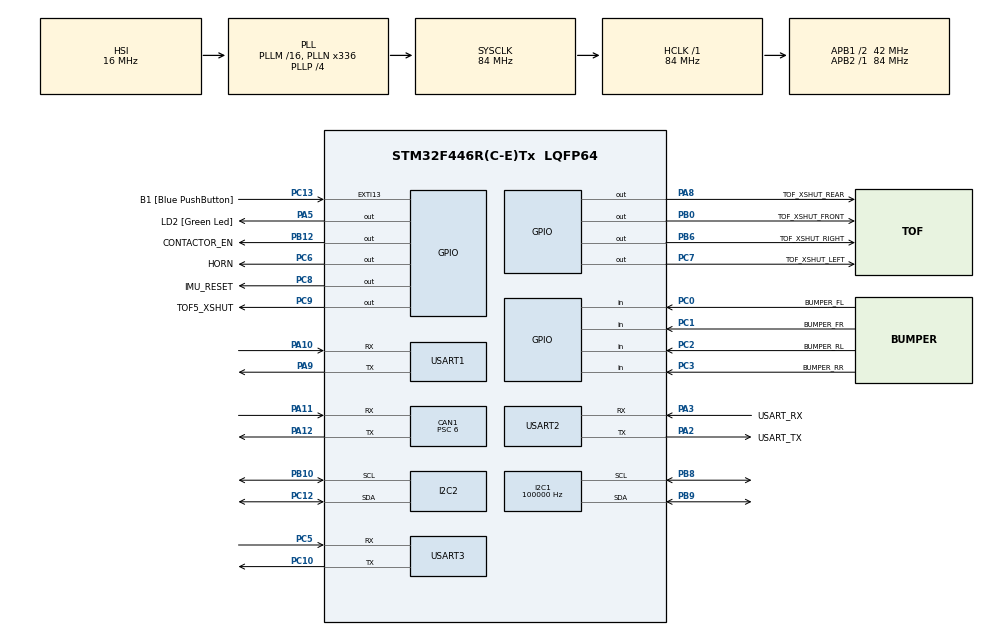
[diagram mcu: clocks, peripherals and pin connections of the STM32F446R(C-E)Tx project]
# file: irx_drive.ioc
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CAN1.ABOM=ENABLE
CAN1.BS1=CAN_BS1_11TQ
CAN1.BS2=CAN_BS2_2TQ
CAN1.CalculateBaudRate=500000
CAN1.CalculateTimeBit=2000
CAN1.CalculateTimeQuantum=142.85714285714286
CAN1.NART=ENABLE
CAN1.Prescaler=6
I2C1.ClockSpeed=100000
I2C1.I2C_Mode=I2C_Standard
Mcu.Family=STM32F4
Mcu.Name=STM32F446R(C-E)Tx
Mcu.Package=LQFP64
NVIC.I2C1_EV_IRQn=true\:0\:0\:false\:false\:true\:true\:true\:true
NVIC.PriorityGroup=NVIC_PRIORITYGROUP_0
NVIC.USART2_IRQn=true\:0\:0\:false\:false\:true\:true\:true\:true
PA10.Mode=Asynchronous
PA10.Signal=USART1_RX
PA11.Mode=CAN_Activate
PA11.Signal=CAN1_RX
PA12.Mode=CAN_Activate
PA12.Signal=CAN1_TX
PA13.GPIO_Label=TMS
PA13.Mode=Serial_Wire
PA13.Signal=SYS_JTMS-SWDIO
PA14.GPIO_Label=TCK
PA14.Mode=Serial_Wire
PA14.Signal=SYS_JTCK-SWCLK
PA2.GPIO_Label=USART_TX
PA2.Mode=Asynchronous
PA2.Signal=USART2_TX
PA3.GPIO_Label=USART_RX
PA3.Mode=Asynchronous
PA3.Signal=USART2_RX
PA5.GPIO_Label=LD2 [Green Led]
PA5.Signal=GPIO_Output
PA8.GPIO_Label=TOF_XSHUT_REAR
PA8.Signal=GPIO_Output
PA9.Mode=Asynchronous
PA9.Signal=USART1_TX
PB0.GPIO_Label=TOF_XSHUT_FRONT
PB0.Signal=GPIO_Output
PB10.Mode=I2C
PB10.Signal=I2C2_SCL
PB12.GPIO_Label=CONTACTOR_EN
PB12.Signal=GPIO_Output
PB3.GPIO_Label=SWO
PB3.Signal=SYS_JTDO-SWO
PB6.GPIO_Label=TOF_XSHUT_RIGHT
PB6.Signal=GPIO_Output
PB8.Mode=I2C
PB8.Signal=I2C1_SCL
PB9.Mode=I2C
PB9.Signal=I2C1_SDA
PC0.GPIO_Label=BUMPER_FL
PC0.GPIO_PuPd=GPIO_PULLUP
PC0.Signal=GPIO_Input
PC1.GPIO_Label=BUMPER_FR
PC1.GPIO_PuPd=GPIO_PULLUP
PC1.Signal=GPIO_Input
PC10.Mode=Asynchronous
PC10.Signal=USART3_TX
PC12.Mode=I2C
PC12.Signal=I2C2_SDA
PC13.GPIO_Label=B1 [Blue PushButton]
PC13.GPIO_ModeDefaultEXTI=GPIO_MODE_IT_FALLING
PC13.Signal=GPXTI13
PC14-OSC32_IN.Mode=LSE-External-Oscillator
PC14-OSC32_IN.Signal=RCC_OSC32_IN
PC15-OSC32_OUT.Mode=LSE-External-Oscillator
PC15-OSC32_OUT.Signal=RCC_OSC32_OUT
PC2.GPIO_Label=BUMPER_RL
PC2.GPIO_PuPd=GPIO_PULLUP
PC2.Signal=GPIO_Input
PC3.GPIO_Label=BUMPER_RR
PC3.GPIO_PuPd=GPIO_PULLUP
PC3.Signal=GPIO_Input
PC5.Mode=Asynchronous
PC5.Signal=USART3_RX
PC6.GPIO_Label=HORN
PC6.Signal=GPIO_Output
PC7.GPIO_Label=TOF_XSHUT_LEFT
PC7.Signal=GPIO_Output
PC8.GPIO_Label=IMU_RESET
PC8.PinState=GPIO_PIN_SET
PC8.Signal=GPIO_Output
PC9.GPIO_Label=TOF5_XSHUT
PC9.Signal=GPIO_Output
PH0-OSC_IN.Mode=HSE-External-Oscillator
PH0-OSC_IN.Signal=RCC_OSC_IN
PH1-OSC_OUT.Mode=HSE-External-Oscillator
PH1-OSC_OUT.Signal=RCC_OSC_OUT
ProjectManager.HeapSize=0x200
ProjectManager.StackSize=0x400
ProjectManager.TargetToolchain=STM32CubeIDE
RCC.48MHZClocksFreq_Value=84000000
RCC.AHBFreq_Value=84000000
RCC.APB1CLKDivider=RCC_HCLK_DIV2
RCC.APB1Freq_Value=42000000
RCC.APB1TimFreq_Value=84000000
RCC.APB2Freq_Value=84000000
RCC.APB2TimFreq_Value=84000000
RCC.CortexFreq_Value=84000000
RCC.FLatency-AdvancedSettings=FLASH_LATENCY_2
RCC.HCLKFreq_Value=84000000
RCC.HSE_VALUE=8000000
RCC.HSI_VALUE=16000000
RCC.PLLN=336
RCC.PLLP=RCC_PLLP_DIV4
RCC.SYSCLKFreq_VALUE=84000000
RCC.SYSCLKSource=RCC_SYSCLKSOURCE_PLLCLK
RCC.USBFreq_Value=168000000
RCC.VCOOutputFreq_Value=336000000
USART1.VirtualMode=VM_ASYNC
USART2.VirtualMode=VM_ASYNC
USART3.VirtualMode=VM_ASYNC
board=NUCLEO-F446RE

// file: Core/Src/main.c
	/* USER CODE BEGIN Header */
/**
  ******************************************************************************
  * @file           : main.c
  * @brief          : Main program body
  ******************************************************************************
  * @attention
  *
  * Copyright (c) 2026 STMicroelectronics.
  * All rights reserved.
  *
  * This software is licensed under terms that can be found in the LICENSE file
  * in the root directory of this software component.
  * If no LICENSE file comes with this software, it is provided AS-IS.
  *
  ******************************************************************************
  */
/* USER CODE END Header */
#include "main.h"

/* USER CODE BEGIN Includes */
#include "bno085.h"
#include "ibus.h"
#include "robot_drive.h"
#include "vl53l1x.h"
#include <stdio.h>
#include <string.h>
#include <stdlib.h>

/* USER CODE END Includes */

/* USER CODE BEGIN PD */
#define CMD_TIMEOUT_MS  1000U   /* stop if the Jetson sends no valid CMD for this long */
#define ODO_PERIOD_MS   50U     /* 20 Hz */
#define SPEED_PERIOD_MS 200U    /* 5 Hz to the ESP32 */

/* USER CODE END PD */

CAN_HandleTypeDef hcan1;

I2C_HandleTypeDef hi2c1;
I2C_HandleTypeDef hi2c2;

UART_HandleTypeDef huart1;
UART_HandleTypeDef huart2;
UART_HandleTypeDef huart3;

/* USER CODE BEGIN PV */
static uint32_t last_imu_tick     = 0;
static uint32_t last_tof_tick     = 0;
static uint32_t last_odo_tick     = 0;
static uint32_t last_speed_tick   = 0;
static uint32_t last_cmd_rx_tick  = 0;
static uint32_t last_err_tick[4]  = {0};
static uint8_t  cmd_buf[32];
static uint8_t  cmd_len           = 0;
static int32_t  cmd_left          = 0;
static int32_t  cmd_right         = 0;
static uint32_t last_cmd_tick     = 0;
static uint8_t  bumper_last       = 0xFF; /* force send on first loop */
static uint8_t  tof_reinit_count  = 0;
static uint32_t tof_reinit_tick   = 0;
static uint32_t horn_off_tick     = 0;  /* 0 = horn inactive */
static uint8_t  rc_override       = 0;

/* USER CODE END PV */

void SystemClock_Config(void);
static void MX_GPIO_Init(void);
static void MX_CAN1_Init(void);
static void MX_USART2_UART_Init(void);
static void MX_I2C1_Init(void);
static void MX_I2C2_Init(void);
static void MX_USART1_UART_Init(void);
static void MX_USART3_UART_Init(void);

/* USER CODE BEGIN 0 */

/* USART2 RX ring buffer: filled by USART2_IRQHandler, drained by the main loop.
 * The loop blocks on I2C for far longer than one byte time (87 us at 115200). */
#define UART2_RX_SIZE 256U   /* uint8_t indices wrap at exactly this size */

static volatile uint8_t uart2_rx[UART2_RX_SIZE];
static volatile uint8_t uart2_rx_head = 0;
static volatile uint8_t uart2_rx_tail = 0;
static volatile uint8_t uart2_rx_lost = 0;

void Uart2_RxByte(uint8_t b)
{
    uint8_t next = (uint8_t)(uart2_rx_head + 1U);
    if (next == uart2_rx_tail)
    {
        uart2_rx_lost = 1;   /* full: the line being received is now corrupt */
        return;
    }
    uart2_rx[uart2_rx_head] = b;
    uart2_rx_head = next;
}

static uint8_t Uart2_RxPop(uint8_t *b)
{
    if (uart2_rx_tail == uart2_rx_head) return 0;
    *b = uart2_rx[uart2_rx_tail];
    uart2_rx_tail = (uint8_t)(uart2_rx_tail + 1U);
    return 1;
}

/* Strict "<left> <right>" parse. A partial number must never become a speed. */
static uint8_t Parse_Cmd(const char *s, int32_t *left, int32_t *right)
{
    char *end;
    long l = strtol(s, &end, 10);
    if (end == s || *end != ' ') return 0;

    const char *r_start = end + 1;
    long r = strtol(r_start, &end, 10);
    if (end == r_start || *end != '\0') return 0;

    if (l < -6000 || l > 6000 || r < -6000 || r > 6000) return 0;

    *left  = (int32_t)l;
    *right = (int32_t)r;
    return 1;
}

/* USER CODE END 0 */

int main(void)
{

  /* MCU Configuration--------------------------------------------------------*/

  /* Reset of all peripherals, Initializes the Flash interface and the Systick. */
  HAL_Init();

  /* Configure the system clock */
  SystemClock_Config();

  /* Initialize all configured peripherals */
  MX_GPIO_Init();
  MX_CAN1_Init();
  MX_USART2_UART_Init();
  MX_I2C1_Init();
  MX_I2C2_Init();
  MX_USART1_UART_Init();
  MX_USART3_UART_Init();
  /* USER CODE BEGIN 2 */
  HAL_UART_Transmit(&huart2, (uint8_t*)"BOOT\r\n", 6, 100);

  if (vesc_can_start() != HAL_OK)
      HAL_UART_Transmit(&huart2, (uint8_t*)"ERR:CAN\r\n", 9, 100);
  else
      HAL_UART_Transmit(&huart2, (uint8_t*)"CAN_OK\r\n", 8, 100);

  /* IMU — hardware reset pulse so BNO085 boots clean on every MCU reset */
  HAL_GPIO_WritePin(IMU_RESET_GPIO_Port, IMU_RESET_Pin, GPIO_PIN_RESET);
  HAL_Delay(10);
  HAL_GPIO_WritePin(IMU_RESET_GPIO_Port, IMU_RESET_Pin, GPIO_PIN_SET);
  HAL_Delay(500);

  if (BNO085_Init(&hi2c2) != HAL_OK)
      HAL_UART_Transmit(&huart2, (uint8_t*)"ERR:IMU\r\n", 9, 100);
  else
      HAL_UART_Transmit(&huart2, (uint8_t*)"IMU_OK\r\n", 8, 100);

  /* ToF — retry up to 3 times to handle sensors that are slow to boot */
  {
      uint8_t n = 0;
      for (int attempt = 0; attempt < 5 && n < TOF_COUNT; attempt++)
      {
          if (attempt > 0) HAL_Delay(200);
          n = ToF_InitAll(&hi2c1);
      }
      char buf[32];
      int  len = snprintf(buf, sizeof(buf), "TOF_OK %u/5\r\n", n);
      HAL_UART_Transmit(&huart2, (uint8_t*)buf, len, 100);
  }

  /* RC receiver */
  IBus_Init(&huart1);

  /* IWDG — contactor drops automatically if MCU hangs > ~1.5 s */
  IWDG->KR  = 0x5555U;   /* unlock PR/RLR */
  IWDG->PR  = 3U;         /* prescaler /32 → 32 kHz/32 = 1 kHz tick */
  IWDG->RLR = 1500U;      /* 1500 ticks ≈ 1.5 s */
  IWDG->KR  = 0xCCCCU;   /* start */

  /* Energise contactor */
  HAL_GPIO_WritePin(CONTACTOR_EN_GPIO_Port, CONTACTOR_EN_Pin, GPIO_PIN_SET);
  HAL_UART_Transmit(&huart2, (uint8_t*)"CONTACTOR_ON\r\n", 14, 50);

  /* Jetson commands: enabled last so nothing sent during boot is acted on */
  __HAL_UART_ENABLE_IT(&huart2, UART_IT_RXNE);

  /* USER CODE END 2 */

  /* Infinite loop */
  while (1)
  {

    /* USER CODE BEGIN 3 */
      IWDG->KR = 0xAAAAU;   /* kick watchdog */
      uint32_t now = HAL_GetTick();

      /* ── IMU ── */
      BNO085_Process();

      /* ── RC receiver ── */
      IBus_Process();
      {
          IBus_Data_t *rc = IBus_Get();

          uint8_t override_now = rc->valid && (rc->channel[IBUS_OVERRIDE_CH] > IBUS_OVERRIDE_THR);

          if (override_now != rc_override)
          {
              rc_override = override_now;
              if (!rc_override)
              {
                  robot_set_rpm(0, 0);
                  cmd_left = cmd_right = 0;
                  last_cmd_tick = 0;
              }
              HAL_UART_Transmit(&huart2,
                  rc_override ? (uint8_t*)"RC_ON\r\n" : (uint8_t*)"RC_OFF\r\n",
                  rc_override ? 7 : 8, 10);
          }

          if (rc_override)
          {
              /* CH2 (index 1) = throttle, CH1 (index 0) = steering */
              int32_t thr = (int32_t)rc->channel[1] - 1500;  /* -500..+500 */
              int32_t str = (int32_t)rc->channel[0] - 1500;

              if (thr > -30 && thr < 30) thr = 0;
              if (str > -30 && str < 30) str = 0;

              static uint32_t rc_cmd_tick = 0;
              if ((now - rc_cmd_tick) >= 50)
              {
                  rc_cmd_tick = now;
                  if (thr != 0 || str != 0)
                  {
                      int32_t left_rpm  = (thr + str) * 6000 / 500;
                      int32_t right_rpm = (thr - str) * 6000 / 500;
                      robot_set_rpm(left_rpm, right_rpm);
                  }
              }
          }
      }

      /* ── ToF ── */
      ToF_Process();

      /* ── ToF drop recovery: re-init if any sensor offline, max 5 attempts ── */
      if (tof_reinit_count < 5 && (now - tof_reinit_tick) >= 3000)
      {
          uint8_t any_offline = 0;
          for (int i = 0; i < TOF_COUNT; i++)
              if (!ToF_Get(i)->online) { any_offline = 1; break; }
          if (any_offline)
          {
              tof_reinit_tick = now;
              tof_reinit_count++;
              ToF_InitAll(&hi2c1);
          }
      }

      /* ── UART RX: accumulate CMD <left> <right> ── */
      uint8_t b;
      while (Uart2_RxPop(&b))
      {
          if (b == '\n' || b == '\r')
          {
              if (cmd_len == 0) continue;   /* ignore empty / duplicate CR+LF */
              cmd_buf[cmd_len] = '\0';
              if (uart2_rx_lost)
              {
                  /* Bytes were dropped, so this line can't be trusted */
                  uart2_rx_lost = 0;
                  HAL_UART_Transmit(&huart2, (uint8_t*)"ERR:CMD\r\n", 9, 50);
              }
              else if (cmd_len == 3 && memcmp(cmd_buf, "CAN", 3) == 0)
              {
                  vesc_can_dump_status();
              }
              else if (cmd_len == 6 && memcmp(cmd_buf, "STATUS", 6) == 0)
              {
                  /* Hardware check: ms since each VESC was heard (-1 = never), online ToF mask */
                  long age[4];
                  for (uint8_t id = 1; id <= 4; id++)
                  {
                      uint32_t last = vesc_last_seen(id);
                      age[id-1] = (last == 0) ? -1 : (long)(HAL_GetTick() - last);
                  }
                  uint8_t tof_mask = 0;
                  for (int i = 0; i < TOF_COUNT; i++)
                      if (ToF_Get(i)->online) tof_mask |= (uint8_t)(1U << i);
                  char st[80];
                  int sn = snprintf(st, sizeof(st),
                      "STATUS VESC:%ld,%ld,%ld,%ld TOF:%u IMU:%u RC:%u BMP:%u\r\n",
                      age[0], age[1], age[2], age[3], tof_mask,
                      BNO085_GetData()->valid, IBus_Get()->valid, bumper_last);
                  HAL_UART_Transmit(&huart2, (uint8_t*)st, sn, 50);
              }
              else if (cmd_len >= 6 &&
                  cmd_buf[0]=='H' && cmd_buf[1]=='O' &&
                  cmd_buf[2]=='R' && cmd_buf[3]=='N' && cmd_buf[4]==' ')
              {
                  uint32_t ms = (uint32_t)strtol((char*)cmd_buf + 5, NULL, 10);
                  if (ms > 0 && ms <= 5000)
                  {
                      HAL_GPIO_WritePin(HORN_GPIO_Port, HORN_Pin, GPIO_PIN_SET);
                      horn_off_tick = now + ms;
                  }
                  HAL_UART_Transmit(&huart2, (uint8_t*)"HORN_OK\r\n", 9, 50);
              }
              else if (cmd_len >= 7 &&
                  cmd_buf[0]=='C' && cmd_buf[1]=='M' &&
                  cmd_buf[2]=='D' && cmd_buf[3]==' ')
              {
                  int32_t l, r;
                  if (Parse_Cmd((char*)cmd_buf + 4, &l, &r))
                  {
                      char ack[32];
                      int an = snprintf(ack, sizeof(ack), "CMD_OK %ld %ld\r\n", l, r);
                      HAL_UART_Transmit(&huart2, (uint8_t*)ack, an, 50);

                      cmd_left  = l;
                      cmd_right = r;
                      last_cmd_tick = now;
                      last_cmd_rx_tick = now;
                      robot_set_rpm(l, r);
                  }
                  else
                  {
                      HAL_UART_Transmit(&huart2, (uint8_t*)"ERR:CMD\r\n", 9, 50);
                  }
              }
              else if (cmd_len >= 6 &&
                  cmd_buf[0]=='L' && cmd_buf[1]=='I' &&
                  cmd_buf[2]=='G' && cmd_buf[3]=='H' &&
                  cmd_buf[4]=='T' && cmd_buf[5]==' ')
              {
                  HAL_UART_Transmit(&huart3, cmd_buf, cmd_len, 50);
                  HAL_UART_Transmit(&huart3, (uint8_t*)"\n", 1, 10);
                  HAL_UART_Transmit(&huart2, (uint8_t*)"LIGHT_OK\r\n", 10, 50);
              }
              else
              {
                  HAL_UART_Transmit(&huart2, (uint8_t*)"ERR:CMD\r\n", 9, 50);
              }
              cmd_len = 0;
          }
          else if (cmd_len < (uint8_t)(sizeof(cmd_buf) - 1))
          {
              cmd_buf[cmd_len++] = b;
          }
      }

      /* ── Horn auto-off ── */
      if (horn_off_tick > 0 && now >= horn_off_tick)
      {
          HAL_GPIO_WritePin(HORN_GPIO_Port, HORN_Pin, GPIO_PIN_RESET);
          horn_off_tick = 0;
      }

      /* ── Jetson link lost: the resend below would otherwise run the motors forever ── */
      if (last_cmd_tick > 0 && (now - last_cmd_rx_tick) > CMD_TIMEOUT_MS)
      {
          if (!rc_override) robot_set_rpm(0, 0);
          cmd_left = cmd_right = 0;
          last_cmd_tick = 0;
          HAL_UART_Transmit(&huart2, (uint8_t*)"ERR:CMD_TIMEOUT\r\n", 17, 50);
      }

      /* ── Periodic CMD resend @ 200 ms — keeps VESCs alive within their 1s timeout ── */
      if (last_cmd_tick > 0 && (now - last_cmd_tick) >= 200)
      {
          last_cmd_tick = now;
          robot_set_rpm(cmd_left, cmd_right);
      }

      /* ── ToF report @ 500 ms ── */
      if ((now - last_tof_tick) >= 3000)
      {
          last_tof_tick = now;
          char buf[80];
          int n = snprintf(buf, sizeof(buf),
              "TOF FL:%u FR:%u L:%u R:%u REAR:%u\r\n",
              ToF_Get(TOF_FRONT_LEFT)->distance_mm,
              ToF_Get(TOF_FRONT_RIGHT)->distance_mm,
              ToF_Get(TOF_LEFT)->distance_mm,
              ToF_Get(TOF_RIGHT)->distance_mm,
              ToF_Get(TOF_REAR)->distance_mm);
          HAL_UART_Transmit(&huart2, (uint8_t*)buf, n, 20);
      }

      /* ── IMU report @ 10 s (debug rate) ── */
      if ((now - last_imu_tick) >= 3000)
      {
          last_imu_tick = now;
          BNO085_Data_t *imu = BNO085_GetData();
          if (imu->valid)
          {
              char buf[128];
              int n = snprintf(buf, sizeof(buf),
                  "IMU %.4f %.4f %.4f %.4f %.4f %.4f %.4f %.4f %.4f %.4f\r\n",
                  imu->qw, imu->qx, imu->qy, imu->qz,
                  imu->ax, imu->ay, imu->az,
                  imu->gx, imu->gy, imu->gz);
              HAL_UART_Transmit(&huart2, (uint8_t*)buf, n, 10);
          }
      }

      /* ── Bumpers: send BMP on any change ── */
      {
          uint8_t bmp = 0;
          if (HAL_GPIO_ReadPin(BUMPER_FL_GPIO_Port, BUMPER_FL_Pin) == GPIO_PIN_SET) bmp |= 1;
          if (HAL_GPIO_ReadPin(BUMPER_FR_GPIO_Port, BUMPER_FR_Pin) == GPIO_PIN_SET) bmp |= 2;
          if (HAL_GPIO_ReadPin(BUMPER_RL_GPIO_Port, BUMPER_RL_Pin) == GPIO_PIN_SET) bmp |= 4;
          if (HAL_GPIO_ReadPin(BUMPER_RR_GPIO_Port, BUMPER_RR_Pin) == GPIO_PIN_SET) bmp |= 8;
          if (bmp != bumper_last)
          {
              bumper_last = bmp;
              char buf[24];
              int n = snprintf(buf, sizeof(buf), "BMP %u %u %u %u\r\n",
                  (bmp >> 0) & 1,
                  (bmp >> 1) & 1,
                  (bmp >> 2) & 1,
                  (bmp >> 3) & 1);
              HAL_UART_Transmit(&huart2, (uint8_t*)buf, n, 10);
              HAL_UART_Transmit(&huart3, (uint8_t*)buf, n, 10);

              const char *lmsg = (bmp != 0)
                  ? "LIGHT ALL 255 0 0 BLINK\n"
                  : "LIGHT ALL 0 0 0 SOLID\n";
              HAL_UART_Transmit(&huart3, (uint8_t*)lmsg, strlen(lmsg), 50);
          }
      }

      /* ── ODO report @ 20 Hz ── */
      if ((now - last_odo_tick) >= ODO_PERIOD_MS)
      {
          last_odo_tick = now;

          int32_t l_rpm = 0, r_rpm = 0;
          vesc_get_rpm(VESC_FL, &l_rpm);
          vesc_get_rpm(VESC_FR, &r_rpm);

          char buf[32];
          int n = snprintf(buf, sizeof(buf), "ODO %ld %ld\r\n", l_rpm, r_rpm);
          HAL_UART_Transmit(&huart2, (uint8_t*)buf, n, 10);

          if ((now - last_speed_tick) >= SPEED_PERIOD_MS)
          {
              last_speed_tick = now;
              int32_t avg_rpm = (l_rpm + r_rpm) / 2;
              int sn = snprintf(buf, sizeof(buf), "SPEED %ld\n", avg_rpm);
              HAL_UART_Transmit(&huart3, (uint8_t*)buf, sn, 10);
          }

          /* Report any VESC that has stopped responding (rate-limited to 1 per 2 s) */
          for (uint8_t id = 1; id <= 4; id++)
          {
              uint32_t last = vesc_last_seen(id);
              if (last == 0) continue;  /* never heard — VESC may not be powered */
              /* Read the tick after `last`: `now` is from the top of the loop, so
               * a frame received since then would make (now - last) wrap around
               * and report a healthy VESC as silent. */
              if ((HAL_GetTick() - last) > 1000 && (now - last_err_tick[id-1]) > 2000)
              {
                  last_err_tick[id-1] = now;
                  char err[16];
                  int en = snprintf(err, sizeof(err), "ERR:ODO%d\r\n", id);
                  HAL_UART_Transmit(&huart2, (uint8_t*)err, en, 50);
              }
          }
      }

}
  /* USER CODE END 3 */
}

void SystemClock_Config(void)
{
  RCC_OscInitTypeDef RCC_OscInitStruct = {0};
  RCC_ClkInitTypeDef RCC_ClkInitStruct = {0};

  /** Configure the main internal regulator output voltage
  */
  __HAL_RCC_PWR_CLK_ENABLE();
  __HAL_PWR_VOLTAGESCALING_CONFIG(PWR_REGULATOR_VOLTAGE_SCALE3);

  /** Initializes the RCC Oscillators according to the specified parameters
  * in the RCC_OscInitTypeDef structure.
  */
  RCC_OscInitStruct.OscillatorType = RCC_OSCILLATORTYPE_HSI;
  RCC_OscInitStruct.HSIState = RCC_HSI_ON;
  RCC_OscInitStruct.HSICalibrationValue = RCC_HSICALIBRATION_DEFAULT;
  RCC_OscInitStruct.PLL.PLLState = RCC_PLL_ON;
  RCC_OscInitStruct.PLL.PLLSource = RCC_PLLSOURCE_HSI;
  RCC_OscInitStruct.PLL.PLLM = 16;
  RCC_OscInitStruct.PLL.PLLN = 336;
  RCC_OscInitStruct.PLL.PLLP = RCC_PLLP_DIV4;
  RCC_OscInitStruct.PLL.PLLQ = 2;
  RCC_OscInitStruct.PLL.PLLR = 2;
  if (HAL_RCC_OscConfig(&RCC_OscInitStruct) != HAL_OK)
  {
    Error_Handler();
  }

  /** Initializes the CPU, AHB and APB buses clocks
  */
  RCC_ClkInitStruct.ClockType = RCC_CLOCKTYPE_HCLK|RCC_CLOCKTYPE_SYSCLK
                              |RCC_CLOCKTYPE_PCLK1|RCC_CLOCKTYPE_PCLK2;
  RCC_ClkInitStruct.SYSCLKSource = RCC_SYSCLKSOURCE_PLLCLK;
  RCC_ClkInitStruct.AHBCLKDivider = RCC_SYSCLK_DIV1;
  RCC_ClkInitStruct.APB1CLKDivider = RCC_HCLK_DIV2;
  RCC_ClkInitStruct.APB2CLKDivider = RCC_HCLK_DIV1;

  if (HAL_RCC_ClockConfig(&RCC_ClkInitStruct, FLASH_LATENCY_2) != HAL_OK)
  {
    Error_Handler();
  }
}

static void MX_CAN1_Init(void)
{

  hcan1.Instance = CAN1;
  hcan1.Init.Prescaler = 6;
  hcan1.Init.Mode = CAN_MODE_NORMAL;
  hcan1.Init.SyncJumpWidth = CAN_SJW_1TQ;
  hcan1.Init.TimeSeg1 = CAN_BS1_11TQ;
  hcan1.Init.TimeSeg2 = CAN_BS2_2TQ;
  hcan1.Init.TimeTriggeredMode = DISABLE;
  hcan1.Init.AutoBusOff = ENABLE;
  hcan1.Init.AutoWakeUp = DISABLE;
  hcan1.Init.AutoRetransmission = ENABLE;
  hcan1.Init.ReceiveFifoLocked = DISABLE;
  hcan1.Init.TransmitFifoPriority = DISABLE;
  if (HAL_CAN_Init(&hcan1) != HAL_OK)
  {
    Error_Handler();
  }

}

static void MX_I2C1_Init(void)
{

  /* USER CODE BEGIN I2C1_Init 0 */
  /* I2C bus recovery: if SDA stuck low, clock SCL 9x to release the slave */
  {
      GPIO_InitTypeDef g = {0};

      g.Pin   = GPIO_PIN_9;          /* SDA — read bus state */
      g.Mode  = GPIO_MODE_INPUT;
      g.Pull  = GPIO_PULLUP;
      HAL_GPIO_Init(GPIOB, &g);

      g.Pin   = GPIO_PIN_8;          /* SCL — drive manually */
      g.Mode  = GPIO_MODE_OUTPUT_OD;
      g.Pull  = GPIO_NOPULL;
      g.Speed = GPIO_SPEED_FREQ_LOW;
      HAL_GPIO_Init(GPIOB, &g);
      HAL_GPIO_WritePin(GPIOB, GPIO_PIN_8, GPIO_PIN_SET);

      if (HAL_GPIO_ReadPin(GPIOB, GPIO_PIN_9) == GPIO_PIN_RESET)
      {
          for (int i = 0; i < 9; i++)
          {
              HAL_GPIO_WritePin(GPIOB, GPIO_PIN_8, GPIO_PIN_RESET);
              HAL_Delay(1);
              HAL_GPIO_WritePin(GPIOB, GPIO_PIN_8, GPIO_PIN_SET);
              HAL_Delay(1);
          }
          /* STOP condition */
          g.Pin  = GPIO_PIN_9;
          g.Mode = GPIO_MODE_OUTPUT_OD;
          g.Pull = GPIO_NOPULL;
          HAL_GPIO_Init(GPIOB, &g);
          HAL_GPIO_WritePin(GPIOB, GPIO_PIN_9, GPIO_PIN_SET);
          HAL_Delay(1);
      }
  }
  /* USER CODE END I2C1_Init 0 */

  hi2c1.Instance = I2C1;
  hi2c1.Init.ClockSpeed = 100000;
  hi2c1.Init.DutyCycle = I2C_DUTYCYCLE_2;
  hi2c1.Init.OwnAddress1 = 0;
  hi2c1.Init.AddressingMode = I2C_ADDRESSINGMODE_7BIT;
  hi2c1.Init.DualAddressMode = I2C_DUALADDRESS_DISABLE;
  hi2c1.Init.OwnAddress2 = 0;
  hi2c1.Init.GeneralCallMode = I2C_GENERALCALL_DISABLE;
  hi2c1.Init.NoStretchMode = I2C_NOSTRETCH_DISABLE;
  if (HAL_I2C_Init(&hi2c1) != HAL_OK)
  {
    Error_Handler();
  }

}

static void MX_I2C2_Init(void)
{

  hi2c2.Instance = I2C2;
  hi2c2.Init.ClockSpeed = 100000;
  hi2c2.Init.DutyCycle = I2C_DUTYCYCLE_2;
  hi2c2.Init.OwnAddress1 = 0;
  hi2c2.Init.AddressingMode = I2C_ADDRESSINGMODE_7BIT;
  hi2c2.Init.DualAddressMode = I2C_DUALADDRESS_DISABLE;
  hi2c2.Init.OwnAddress2 = 0;
  hi2c2.Init.GeneralCallMode = I2C_GENERALCALL_DISABLE;
  hi2c2.Init.NoStretchMode = I2C_NOSTRETCH_DISABLE;
  if (HAL_I2C_Init(&hi2c2) != HAL_OK)
  {
    Error_Handler();
  }

}

static void MX_USART1_UART_Init(void)
{

  huart1.Instance = USART1;
  huart1.Init.BaudRate = 115200;
  huart1.Init.WordLength = UART_WORDLENGTH_8B;
  huart1.Init.StopBits = UART_STOPBITS_1;
  huart1.Init.Parity = UART_PARITY_NONE;
  huart1.Init.Mode = UART_MODE_TX_RX;
  huart1.Init.HwFlowCtl = UART_HWCONTROL_NONE;
  huart1.Init.OverSampling = UART_OVERSAMPLING_16;
  if (HAL_UART_Init(&huart1) != HAL_OK)
  {
    Error_Handler();
  }

}

static void MX_USART2_UART_Init(void)
{

  huart2.Instance = USART2;
  huart2.Init.BaudRate = 115200;
  huart2.Init.WordLength = UART_WORDLENGTH_8B;
  huart2.Init.StopBits = UART_STOPBITS_1;
  huart2.Init.Parity = UART_PARITY_NONE;
  huart2.Init.Mode = UART_MODE_TX_RX;
  huart2.Init.HwFlowCtl = UART_HWCONTROL_NONE;
  huart2.Init.OverSampling = UART_OVERSAMPLING_16;
  if (HAL_UART_Init(&huart2) != HAL_OK)
  {
    Error_Handler();
  }

}

static void MX_USART3_UART_Init(void)
{

  huart3.Instance = USART3;
  huart3.Init.BaudRate = 115200;
  huart3.Init.WordLength = UART_WORDLENGTH_8B;
  huart3.Init.StopBits = UART_STOPBITS_1;
  huart3.Init.Parity = UART_PARITY_NONE;
  huart3.Init.Mode = UART_MODE_TX_RX;
  huart3.Init.HwFlowCtl = UART_HWCONTROL_NONE;
  huart3.Init.OverSampling = UART_OVERSAMPLING_16;
  if (HAL_UART_Init(&huart3) != HAL_OK)
  {
    Error_Handler();
  }

}

static void MX_GPIO_Init(void)
{
  GPIO_InitTypeDef GPIO_InitStruct = {0};

  /* GPIO Ports Clock Enable */
  __HAL_RCC_GPIOC_CLK_ENABLE();
  __HAL_RCC_GPIOH_CLK_ENABLE();
  __HAL_RCC_GPIOA_CLK_ENABLE();
  __HAL_RCC_GPIOB_CLK_ENABLE();

  /*Configure GPIO pin Output Level */
  HAL_GPIO_WritePin(GPIOA, LD2_Pin|TOF_XSHUT_REAR_Pin, GPIO_PIN_RESET);

  /*Configure GPIO pin Output Level */
  HAL_GPIO_WritePin(GPIOB, TOF_XSHUT_FRONT_Pin|CONTACTOR_EN_Pin|TOF_XSHUT_RIGHT_Pin, GPIO_PIN_RESET);

  /*Configure GPIO pin Output Level */
  HAL_GPIO_WritePin(GPIOC, HORN_Pin|TOF_XSHUT_LEFT_Pin|TOF5_XSHUT_Pin, GPIO_PIN_RESET);

  /*Configure GPIO pin Output Level */
  HAL_GPIO_WritePin(IMU_RESET_GPIO_Port, IMU_RESET_Pin, GPIO_PIN_SET);

  /*Configure GPIO pin : B1_Pin */
  GPIO_InitStruct.Pin = B1_Pin;
  GPIO_InitStruct.Mode = GPIO_MODE_IT_FALLING;
  GPIO_InitStruct.Pull = GPIO_NOPULL;
  HAL_GPIO_Init(B1_GPIO_Port, &GPIO_InitStruct);

  /*Configure GPIO pins : BUMPER_FL_Pin BUMPER_FR_Pin BUMPER_RL_Pin BUMPER_RR_Pin */
  GPIO_InitStruct.Pin = BUMPER_FL_Pin|BUMPER_FR_Pin|BUMPER_RL_Pin|BUMPER_RR_Pin;
  GPIO_InitStruct.Mode = GPIO_MODE_INPUT;
  GPIO_InitStruct.Pull = GPIO_PULLUP;
  HAL_GPIO_Init(GPIOC, &GPIO_InitStruct);

  /*Configure GPIO pins : LD2_Pin TOF_XSHUT_REAR_Pin */
  GPIO_InitStruct.Pin = LD2_Pin|TOF_XSHUT_REAR_Pin;
  GPIO_InitStruct.Mode = GPIO_MODE_OUTPUT_PP;
  GPIO_InitStruct.Pull = GPIO_NOPULL;
  GPIO_InitStruct.Speed = GPIO_SPEED_FREQ_LOW;
  HAL_GPIO_Init(GPIOA, &GPIO_InitStruct);

  /*Configure GPIO pins : TOF_XSHUT_FRONT_Pin CONTACTOR_EN_Pin TOF_XSHUT_RIGHT_Pin */
  GPIO_InitStruct.Pin = TOF_XSHUT_FRONT_Pin|CONTACTOR_EN_Pin|TOF_XSHUT_RIGHT_Pin;
  GPIO_InitStruct.Mode = GPIO_MODE_OUTPUT_PP;
  GPIO_InitStruct.Pull = GPIO_NOPULL;
  GPIO_InitStruct.Speed = GPIO_SPEED_FREQ_LOW;
  HAL_GPIO_Init(GPIOB, &GPIO_InitStruct);

  /*Configure GPIO pins : HORN_Pin TOF_XSHUT_LEFT_Pin IMU_RESET_Pin TOF5_XSHUT_Pin */
  GPIO_InitStruct.Pin = HORN_Pin|TOF_XSHUT_LEFT_Pin|IMU_RESET_Pin|TOF5_XSHUT_Pin;
  GPIO_InitStruct.Mode = GPIO_MODE_OUTPUT_PP;
  GPIO_InitStruct.Pull = GPIO_NOPULL;
  GPIO_InitStruct.Speed = GPIO_SPEED_FREQ_LOW;
  HAL_GPIO_Init(GPIOC, &GPIO_InitStruct);

  /* USER CODE BEGIN MX_GPIO_Init_2 */
  HAL_GPIO_WritePin(IMU_RESET_GPIO_Port, IMU_RESET_Pin, GPIO_PIN_SET);
  /* USER CODE END MX_GPIO_Init_2 */
}

void Error_Handler(void)
{
  /* USER CODE BEGIN Error_Handler_Debug */
  while (1)
  {
    HAL_GPIO_TogglePin(LD2_GPIO_Port, LD2_Pin);
    HAL_Delay(100);
  }
  /* USER CODE END Error_Handler_Debug */
}
